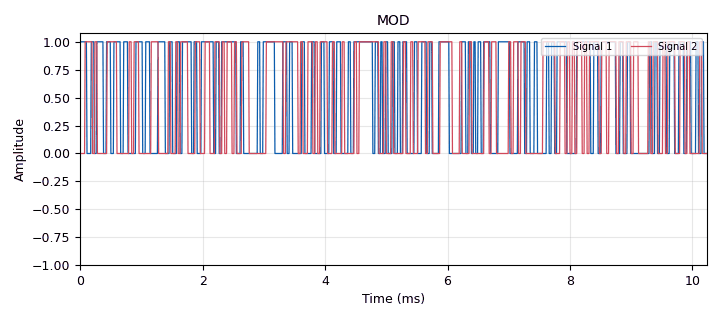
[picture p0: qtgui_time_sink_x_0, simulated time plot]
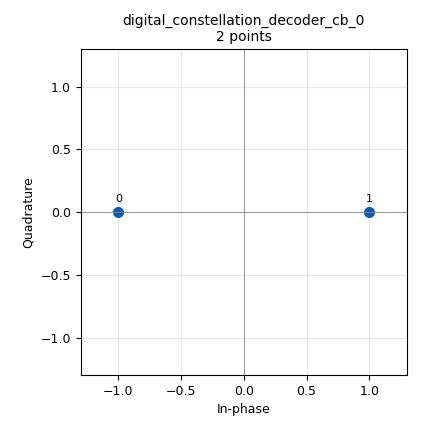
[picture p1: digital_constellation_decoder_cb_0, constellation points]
options:
  parameters:
    generate_options: qt_gui
    id: probyem_cons_mod_bpsk
    output_language: python
    title: Not titled yet
  states: {}

blocks:
- name: BPSK
  id: variable_constellation
  parameters:
    precision: '8'
    type: bpsk
  states: {}
- name: RANGE
  id: variable_qtgui_range
  parameters:
    start: '0'
    step: '1'
    stop: '100'
    value: '0'
  states: {}
- name: samp_rate
  id: variable
  parameters:
    value: 100e3
  states: {}
- name: analog_random_source_x_0
  id: analog_random_source_x
  parameters:
    max: '255'
    min: '0'
    num_samps: '1000'
    repeat: 'True'
    type: byte
  states: {}
- name: blocks_char_to_float_0_0_0
  id: blocks_char_to_float
  parameters:
    scale: '1'
  states: {}
- name: blocks_complex_to_float_0
  id: blocks_complex_to_float
  parameters: {}
  states: {}
- name: blocks_delay_0
  id: blocks_delay
  parameters:
    delay: RANGE
    type: float
  states: {}
- name: blocks_interleaved_char_to_complex_0
  id: blocks_interleaved_char_to_complex
  parameters:
    scale_factor: '1.0'
    vector_input: 'False'
  states: {}
- name: blocks_repeat_0
  id: blocks_repeat
  parameters:
    interp: '4'
    type: float
  states: {}
- name: blocks_throttle2_0
  id: blocks_throttle2
  parameters:
    samples_per_second: samp_rate
    type: byte
  states: {}
- name: blocks_throttle2_1
  id: blocks_throttle2
  parameters:
    samples_per_second: samp_rate
    type: float
  states: {}
- name: blocks_unpack_k_bits_bb_0_0
  id: blocks_unpack_k_bits_bb
  parameters:
    k: '8'
  states: {}
- name: digital_constellation_decoder_cb_0
  id: digital_constellation_decoder_cb
  parameters:
    constellation: BPSK
  states: {}
- name: digital_constellation_modulator_0
  id: digital_constellation_modulator
  parameters:
    constellation: BPSK
    differential: 'True'
    excess_bw: '0.35'
    samples_per_symbol: '8'
  states: {}
- name: qtgui_time_sink_x_0
  id: qtgui_time_sink_x
  parameters:
    name: '"MOD"'
    nconnections: '2'
    size: '1024'
    srate: samp_rate
    type: float
  states: {}
- name: qtgui_time_sink_x_0_0
  id: qtgui_time_sink_x
  parameters:
    name: '"NE_MOD"'
    size: '1024'
    srate: samp_rate
    type: float
  states: {state: disabled}

connections:
- [analog_random_source_x_0, '0', blocks_throttle2_0, '0']
- [analog_random_source_x_0, '0', blocks_unpack_k_bits_bb_0_0, '0']
- [blocks_char_to_float_0_0_0, '0', blocks_repeat_0, '0']
- [blocks_complex_to_float_0, '0', blocks_throttle2_1, '0']
- [blocks_delay_0, '0', qtgui_time_sink_x_0, '1']
- [blocks_interleaved_char_to_complex_0, '0', blocks_complex_to_float_0, '0']
- [blocks_repeat_0, '0', blocks_delay_0, '0']
- [blocks_throttle2_0, '0', digital_constellation_modulator_0, '0']
- [blocks_throttle2_1, '0', qtgui_time_sink_x_0, '0']
- [blocks_unpack_k_bits_bb_0_0, '0', blocks_char_to_float_0_0_0, '0']
- [digital_constellation_decoder_cb_0, '0', blocks_interleaved_char_to_complex_0, '0']
- [digital_constellation_modulator_0, '0', digital_constellation_decoder_cb_0, '0']

metadata:
  file_format: 1
  grc_version: 3.10.10.0
